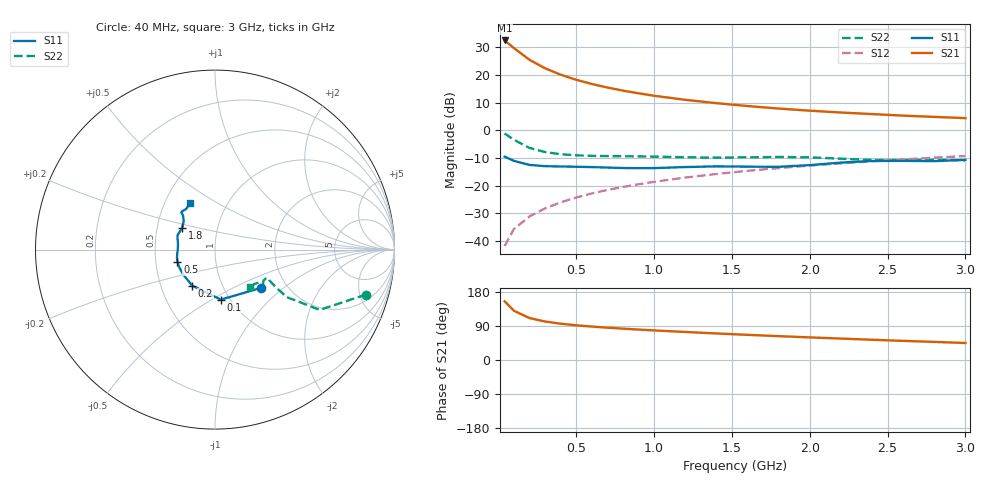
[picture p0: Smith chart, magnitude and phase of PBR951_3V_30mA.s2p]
! Filename:  PBR951H.S2P  Version:  3.0
! Philips part #:  PBR951  Date: July 1998
! Bias condition:  Vce=3V, Ic=30mA
#  MHz  S  MA  R 50
! Freq  S11  S21  S12  S22
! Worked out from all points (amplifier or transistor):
!   21 points, 40 MHz to 3 GHz, reference 50 ohm
!   highest |S21| = 32.4 dB at 40 MHz (marker M1)
!   |S21| within 3 dB of that: start of sweep to 105.7 MHz
!   unconditionally stable (mu >= 1): 476.9 MHz to 2.09 GHz
!   at 300 MHz: K = 0.94, MSG = 25.3 dB, |S12| = -28.2 dB
!   at 1 GHz: K = 1.04, MAG = 14.3 dB, |S12| = -18.6 dB
!   at 3 GHz: K = 0.96, MSG = 6.8 dB, |S12| = -9.3 dB
!   S11 on the Smith chart (normalised r, x): 40 MHz: 1.49, -0.71; 100 MHz: 0.91, -0.55; 200 MHz: 0.72, -0.31; 500 MHz: 0.65, -0.09; 1.8 GHz: 0.67, +0.17; 3 GHz: 0.67, +0.38
40  0.3343 -39.6  41.91 154.8  0.008093 79.8  0.8782 -16.6
100  0.2806 -83.3  30.5 129.9  0.01657 73.0  0.6732 -29.9
200  0.2375 -122.5  18.75 110.7  0.02785 73.9  0.4809 -33.5
300  0.2249 -142.5  13.18 101.5  0.03894 76.0  0.4048 -31.9
400  0.2223 -154.2  10.1 95.8  0.05005 77.1  0.3704 -30.6
500  0.2201 -161.9  8.172 91.5  0.06115 78.0  0.3533 -29.8
600  0.2168 -167.4  6.866 88.3  0.07257 78.5  0.3457 -29.4
700  0.2126 -172.9  5.926 85.3  0.08371 78.7  0.3424 -29.0
800  0.2085 -178.0  5.209 82.7  0.09491 78.7  0.3407 -28.7
900  0.2072 177.3  4.656 80.3  0.106 78.5  0.3384 -28.4
1000  0.2078 172.1  4.208 78.1  0.1174 78.3  0.3353 -28.4
1200  0.217 164.1  3.553 74.0  0.1402 77.4  0.326 -29.4
1400  0.2235 159.0  3.092 70.1  0.1628 76.6  0.3208 -32.1
1600  0.2207 154.1  2.744 66.4  0.1855 75.7  0.325 -34.7
1800  0.2194 146.4  2.471 63.0  0.2079 74.6  0.3307 -35.5
2000  0.2352 137.7  2.263 59.6  0.2302 73.4  0.3248 -35.4
2200  0.2613 133.0  2.095 56.5  0.253 72.0  0.3072 -36.5
2400  0.2795 132.2  1.965 53.4  0.2759 70.7  0.2916 -40.8
2600  0.2809 130.9  1.841 50.5  0.2983 69.4  0.2894 -45.7
2800  0.2777 125.4  1.746 47.8  0.3213 68.0  0.294 -48.2
3000  0.2927 118.2  1.662 44.9  0.3435 66.6  0.2871 -47.3
